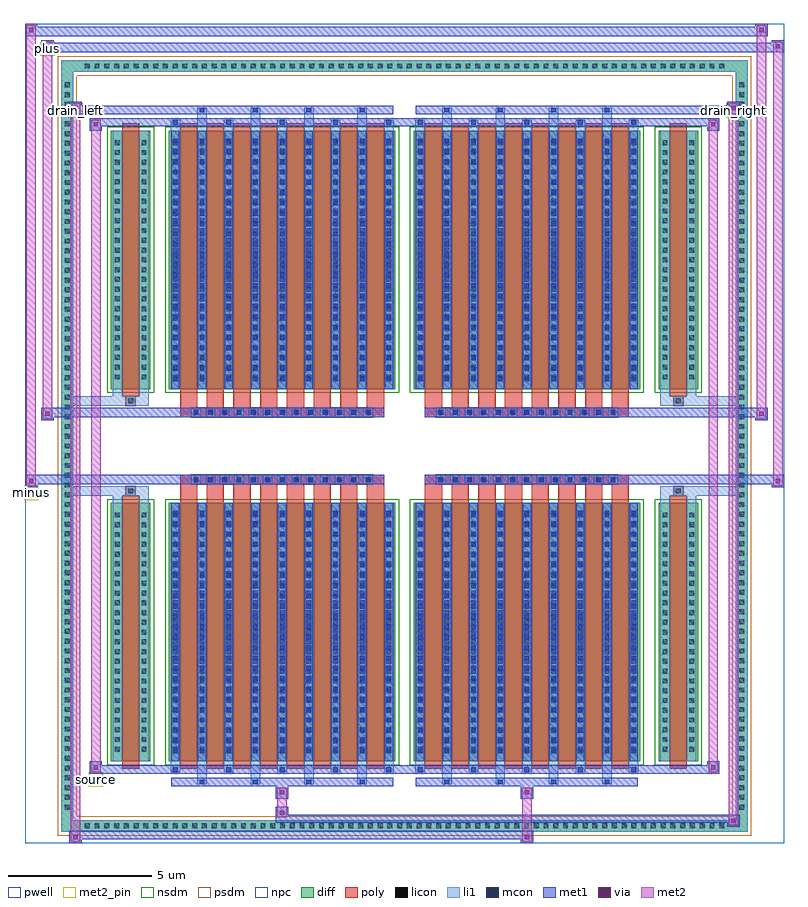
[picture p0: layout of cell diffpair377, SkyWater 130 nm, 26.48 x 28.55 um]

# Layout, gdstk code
import gdstk
lib = gdstk.Library(unit=1e-6, precision=5e-09)
def R(c, l, rs):  # rectangles x0, y0, x1, y1
    for r in rs: c.add(gdstk.rectangle(r[:2], r[2:], *l))
def A(c, l, x, y, w, h, nx, ny, dx, dy):  # array of equal rectangles
    R(c, l, [(x+i*dx, y+j*dy, x+i*dx+w, y+j*dy+h) for i in range(nx) for j in range(ny)])
def P(c, l, *ps):  # polygons
    for p in ps: c.add(gdstk.Polygon(p, *l))
pwell = (64, 44)
diff = (65, 20)
poly = (66, 20)
licon = (66, 44)
li1 = (67, 20)
mcon = (67, 44)
met1 = (68, 20)
via = (68, 44)
met2_pin = (69, 16)
met2 = (69, 20)
nsdm = (93, 44)
psdm = (94, 20)
npc = (95, 20)

diffpair377 = lib.new_cell('diffpair377')
R(diffpair377, pwell, [(-13.22,-13.84,13.22,14.71), (-10.54,-12.03,-0.01,-0.805), (0.01,-12.03,10.54,-0.805), (-10.54,0.805,-0.01,12.03), (0.01,0.805,10.54,12.03)])
A(diffpair377, diff, -11.255, -13.44, 0.41, 0.41, 66, 2, 0.34, 26.47)
A(diffpair377, diff, -11.95, -12.785, 0.41, 0.41, 1, 75, 0, 0.34)
A(diffpair377, diff, 11.54, -12.785, 0.41, 0.41, 1, 75, 0, 0.34)
R(diffpair377, diff, [(-11.255,-13.44,11.255,-13.03), (-11.95,-12.785,-11.54,12.785), (11.54,-12.785,11.95,12.785), (-10.23,-10.985,-8.85,-1.985), (-8.21,-10.985,-0.32,-1.985), (0.32,-10.985,8.21,-1.985), (8.85,-10.985,10.23,-1.985), (-10.23,1.985,-8.85,10.985), (-8.21,1.985,-0.32,10.985), (0.32,1.985,8.21,10.985), (8.85,1.985,10.23,10.985), (-11.255,13.03,11.255,13.44)])
P(diffpair377, diff, [(11.95,13.44),(-11.95,13.44),(-11.95,-13.03),(-11.54,-13.03),(-11.54,13.03),(11.54,13.03),(11.54,-13.03),(-11.54,-13.03),(-11.95,-13.03),(-11.95,-13.44),(11.95,-13.44)])
A(diffpair377, poly, -7.82, -11.235, 0.6, 9.5, 8, 2, 0.93, 12.97)
A(diffpair377, poly, 0.71, -11.235, 0.6, 9.5, 8, 2, 0.93, 12.97)
A(diffpair377, poly, -7.82, -1.735, 0.6, 0.4, 8, 2, 0.93, 3.07)
A(diffpair377, poly, 0.71, -1.735, 0.6, 0.4, 8, 2, 0.93, 3.07)
A(diffpair377, poly, -7.43, -1.335, 0.33, 0.33, 13, 2, 0.5, 2.34)
A(diffpair377, poly, 1.1, -1.335, 0.33, 0.33, 13, 2, 0.5, 2.34)
R(diffpair377, poly, [(-9.84,-11.235,-9.24,-1.735), (9.24,-11.235,9.84,-1.735), (-9.705,-1.735,-9.375,-1.405), (-9.705,-1.735,-9.375,-1.405), (9.375,-1.735,9.705,-1.405), (9.375,-1.735,9.705,-1.405), (-7.82,-1.335,-0.71,-1.005), (0.71,-1.335,7.82,-1.005), (-7.82,1.005,-0.71,1.335), (0.71,1.005,7.82,1.335), (-9.705,1.405,-9.375,1.735), (-9.705,1.405,-9.375,1.735), (9.375,1.405,9.705,1.735), (9.375,1.405,9.705,1.735), (-9.84,1.735,-9.24,11.235), (9.24,1.735,9.84,11.235)])
A(diffpair377, licon, -11.135, -13.32, 0.17, 0.17, 66, 2, 0.34, 26.47)
A(diffpair377, licon, -11.83, -12.665, 0.17, 0.17, 1, 75, 0, 0.34)
A(diffpair377, licon, 11.66, -12.665, 0.17, 0.17, 1, 75, 0, 0.34)
A(diffpair377, licon, -10.09, -10.65, 0.17, 0.17, 1, 25, 0, 0.34)
A(diffpair377, licon, -9.16, -10.65, 0.17, 0.17, 1, 25, 0, 0.34)
A(diffpair377, licon, -8.07, -10.65, 0.17, 0.17, 9, 25, 0.93, 0.34)
A(diffpair377, licon, 0.46, -10.65, 0.17, 0.17, 9, 25, 0.93, 0.34)
A(diffpair377, licon, 8.99, -10.65, 0.17, 0.17, 1, 25, 0, 0.34)
A(diffpair377, licon, 9.92, -10.65, 0.17, 0.17, 1, 25, 0, 0.34)
A(diffpair377, licon, -7.35, -1.255, 0.17, 0.17, 13, 2, 0.5, 2.34)
A(diffpair377, licon, 1.18, -1.255, 0.17, 0.17, 13, 2, 0.5, 2.34)
A(diffpair377, licon, -10.09, 2.32, 0.17, 0.17, 1, 25, 0, 0.34)
A(diffpair377, licon, -9.16, 2.32, 0.17, 0.17, 1, 25, 0, 0.34)
A(diffpair377, licon, -8.07, 2.32, 0.17, 0.17, 9, 25, 0.93, 0.34)
A(diffpair377, licon, 0.46, 2.32, 0.17, 0.17, 9, 25, 0.93, 0.34)
A(diffpair377, licon, 8.99, 2.32, 0.17, 0.17, 1, 25, 0, 0.34)
A(diffpair377, licon, 9.92, 2.32, 0.17, 0.17, 1, 25, 0, 0.34)
R(diffpair377, licon, [(-9.625,-1.655,-9.455,-1.485), (9.455,-1.655,9.625,-1.485), (-9.625,1.485,-9.455,1.655), (9.455,1.485,9.625,1.655)])
A(diffpair377, li1, -11.215, -13.4, 0.33, 0.33, 66, 2, 0.34, 26.47)
A(diffpair377, li1, -11.91, -12.745, 0.33, 0.33, 1, 75, 0, 0.34)
A(diffpair377, li1, 11.58, -12.745, 0.33, 0.33, 1, 75, 0, 0.34)
A(diffpair377, li1, -7.22, -11.79, 0.33, 0.805, 4, 2, 1.86, 22.775)
A(diffpair377, li1, -7.14, -11.79, 0.17, 0.17, 4, 2, 1.86, 23.41)
A(diffpair377, li1, 1.31, -11.79, 0.33, 0.805, 4, 2, 1.86, 22.775)
A(diffpair377, li1, 1.39, -11.79, 0.17, 0.17, 4, 2, 1.86, 23.41)
A(diffpair377, li1, -8.15, -11.36, 0.33, 0.375, 5, 2, 1.86, 22.345)
A(diffpair377, li1, -8.07, -11.36, 0.17, 0.17, 5, 2, 1.86, 22.55)
A(diffpair377, li1, 0.38, -11.36, 0.33, 0.375, 5, 2, 1.86, 22.345)
A(diffpair377, li1, 0.46, -11.36, 0.17, 0.17, 5, 2, 1.86, 22.55)
A(diffpair377, li1, -8.15, -10.985, 0.33, 9, 9, 2, 0.93, 12.97)
A(diffpair377, li1, 0.38, -10.985, 0.33, 9, 9, 2, 0.93, 12.97)
A(diffpair377, li1, -10.17, -10.73, 0.33, 0.33, 1, 25, 0, 0.34)
A(diffpair377, li1, -9.24, -10.73, 0.33, 0.33, 1, 25, 0, 0.34)
A(diffpair377, li1, -8.15, -10.73, 0.33, 0.33, 9, 25, 0.93, 0.34)
A(diffpair377, li1, 0.38, -10.73, 0.33, 0.33, 9, 25, 0.93, 0.34)
A(diffpair377, li1, 8.91, -10.73, 0.33, 0.33, 1, 25, 0, 0.34)
A(diffpair377, li1, 9.84, -10.73, 0.33, 0.33, 1, 25, 0, 0.34)
A(diffpair377, li1, -8.07, -10.71, 0.17, 0.17, 9, 24, 0.93, 0.36)
A(diffpair377, li1, -8.07, -10.71, 0.17, 8.45, 9, 2, 0.93, 12.97)
A(diffpair377, li1, 0.46, -10.71, 0.17, 0.17, 9, 24, 0.93, 0.36)
A(diffpair377, li1, 0.46, -10.71, 0.17, 8.45, 9, 2, 0.93, 12.97)
A(diffpair377, li1, -7.43, -1.335, 0.33, 0.33, 13, 2, 0.5, 2.34)
A(diffpair377, li1, 1.1, -1.335, 0.33, 0.33, 13, 2, 0.5, 2.34)
A(diffpair377, li1, -10.17, 2.24, 0.33, 0.33, 1, 25, 0, 0.34)
A(diffpair377, li1, -9.24, 2.24, 0.33, 0.33, 1, 25, 0, 0.34)
A(diffpair377, li1, -8.15, 2.24, 0.33, 0.33, 9, 25, 0.93, 0.34)
A(diffpair377, li1, 0.38, 2.24, 0.33, 0.33, 9, 25, 0.93, 0.34)
A(diffpair377, li1, 8.91, 2.24, 0.33, 0.33, 1, 25, 0, 0.34)
A(diffpair377, li1, 9.84, 2.24, 0.33, 0.33, 1, 25, 0, 0.34)
A(diffpair377, li1, -8.07, 2.26, 0.17, 0.17, 9, 24, 0.93, 0.36)
A(diffpair377, li1, 0.46, 2.26, 0.17, 0.17, 9, 24, 0.93, 0.36)
R(diffpair377, li1, [(-11.95,-13.44,-11.54,-13.03), (-11.95,-13.44,-11.54,-13.03), (-11.54,-13.44,11.54,-13.03), (11.54,-13.44,11.95,-13.03), (11.54,-13.44,11.95,-13.03), (-11.95,-13.03,-11.54,13.03), (11.54,-13.03,11.95,13.03), (-10.17,-10.985,-9.84,-1.985), (-9.24,-10.985,-8.91,-1.985), (8.91,-10.985,9.24,-1.985), (9.84,-10.985,10.17,-1.985), (-10.17,-1.985,-9.84,-1.405), (-9.24,-1.985,-8.91,-1.405), (8.91,-1.985,9.24,-1.405), (9.84,-1.985,10.17,-1.405), (-11.95,-1.735,-9.705,-1.405), (-10.17,-1.735,-9.705,-1.405), (-9.705,-1.735,-9.375,-1.405), (-9.375,-1.735,-8.91,-1.405), (8.91,-1.735,9.375,-1.405), (9.375,-1.735,9.705,-1.405), (9.375,-1.735,11.95,-1.405), (9.705,-1.735,10.17,-1.405), (-11.95,1.405,-9.705,1.735), (-10.17,1.405,-9.705,1.735), (-10.17,1.405,-9.84,1.985), (-9.705,1.405,-9.375,1.735), (-9.375,1.405,-8.91,1.735), (-9.24,1.405,-8.91,1.985), (8.91,1.405,9.375,1.735), (8.91,1.405,9.24,1.985), (9.375,1.405,9.705,1.735), (9.375,1.405,11.95,1.735), (9.705,1.405,10.17,1.735), (9.84,1.405,10.17,1.985), (-10.17,1.985,-9.84,10.985), (-9.24,1.985,-8.91,10.985), (8.91,1.985,9.24,10.985), (9.84,1.985,10.17,10.985), (-11.95,13.03,-11.54,13.44), (-11.95,13.03,-11.54,13.44), (-11.54,13.03,11.54,13.44), (11.54,13.03,11.95,13.44), (11.54,13.03,11.95,13.44)])
A(diffpair377, mcon, -7.14, -11.79, 0.17, 0.17, 4, 2, 1.86, 23.41)
A(diffpair377, mcon, 1.39, -11.79, 0.17, 0.17, 4, 2, 1.86, 23.41)
A(diffpair377, mcon, -8.07, -11.36, 0.17, 0.17, 5, 2, 1.86, 22.55)
A(diffpair377, mcon, 0.46, -11.36, 0.17, 0.17, 5, 2, 1.86, 22.55)
A(diffpair377, mcon, -8.07, -10.71, 0.17, 0.17, 9, 24, 0.93, 0.36)
A(diffpair377, mcon, 0.46, -10.71, 0.17, 0.17, 9, 24, 0.93, 0.36)
A(diffpair377, mcon, -7.35, -1.255, 0.17, 0.17, 13, 2, 0.5, 2.34)
A(diffpair377, mcon, 1.18, -1.255, 0.17, 0.17, 13, 2, 0.5, 2.34)
A(diffpair377, mcon, -8.07, 2.26, 0.17, 0.17, 9, 24, 0.93, 0.36)
A(diffpair377, mcon, 0.46, 2.26, 0.17, 0.17, 9, 24, 0.93, 0.36)
A(diffpair377, met1, -7.2, -11.85, 0.29, 0.29, 4, 2, 1.86, 23.41)
A(diffpair377, met1, 1.33, -11.85, 0.29, 0.29, 4, 2, 1.86, 23.41)
A(diffpair377, met1, -8.13, -11.42, 0.29, 0.29, 5, 2, 1.86, 22.55)
A(diffpair377, met1, 0.4, -11.42, 0.29, 0.29, 5, 2, 1.86, 22.55)
A(diffpair377, met1, -8.13, -10.985, 0.29, 9, 9, 2, 0.93, 12.97)
A(diffpair377, met1, 0.4, -10.985, 0.29, 9, 9, 2, 0.93, 12.97)
A(diffpair377, met1, -8.13, -10.77, 0.29, 0.29, 9, 24, 0.93, 0.36)
A(diffpair377, met1, 0.4, -10.77, 0.29, 0.29, 9, 24, 0.93, 0.36)
A(diffpair377, met1, -7.41, -1.315, 0.29, 0.29, 13, 2, 0.5, 2.34)
A(diffpair377, met1, 1.12, -1.315, 0.29, 0.29, 13, 2, 0.5, 2.34)
A(diffpair377, met1, -8.13, 2.2, 0.29, 0.29, 9, 24, 0.93, 0.36)
A(diffpair377, met1, 0.4, 2.2, 0.29, 0.29, 9, 24, 0.93, 0.36)
R(diffpair377, met1, [(-11.68,-13.84,-11.25,-13.41), (4.05,-13.84,4.48,-13.41), (-11.68,-13.7,4.48,-13.41), (11.25,-13.27,11.68,-12.84), (-4.48,-13.13,11.68,-12.84), (-4.48,-12.99,-4.05,-12.56), (-4.48,-12.28,-4.05,-11.85), (4.05,-12.28,4.48,-11.85), (-8.13,-11.85,-0.4,-11.56), (0.4,-11.85,8.13,-11.56), (-10.97,-11.42,-10.54,-10.99), (-10.97,-11.42,-8.13,-11.13), (-8.13,-11.42,-0.4,-11.13), (-0.4,-11.42,0.4,-11.13), (0.4,-11.42,8.13,-11.13), (8.13,-11.42,10.97,-11.13), (10.54,-11.42,10.97,-10.99), (-13.22,-1.435,-12.79,-1.005), (12.79,-1.435,13.22,-1.005), (-13.22,-1.335,-0.71,-1.005), (-7.82,-1.335,-0.71,-1.005), (0.71,-1.335,7.82,-1.005), (0.71,-1.335,13.22,-1.005), (-12.65,0.905,-12.22,1.335), (12.22,0.905,12.65,1.335), (-12.65,1.005,-7.82,1.335), (-7.82,1.005,-0.71,1.335), (0.71,1.005,7.82,1.335), (7.82,1.005,12.65,1.335), (-10.97,10.99,-10.54,11.42), (10.54,10.99,10.97,11.42), (-10.97,11.13,-8.13,11.42), (-8.13,11.13,-0.4,11.42), (-0.4,11.13,0.4,11.42), (0.4,11.13,8.13,11.42), (8.13,11.13,10.97,11.42), (-11.68,11.56,-11.25,11.99), (-11.68,11.56,-8.13,11.85), (-8.13,11.56,-0.4,11.85), (0.4,11.56,8.13,11.85), (8.13,11.56,11.68,11.85), (11.25,11.56,11.68,11.99), (-12.65,13.71,-12.22,14.14), (-12.65,13.71,-10.54,14.04), (-10.54,13.71,10.54,14.04), (10.54,13.71,13.22,14.04), (12.79,13.71,13.22,14.14), (-13.22,14.28,-12.79,14.71), (-13.22,14.28,-10.54,14.61), (-10.54,14.28,10.54,14.61), (10.54,14.28,12.65,14.61), (12.22,14.28,12.65,14.71)])
R(diffpair377, via, [(-11.54,-13.7,-11.39,-13.55), (4.19,-13.7,4.34,-13.55), (11.39,-13.13,11.54,-12.98), (-4.34,-12.85,-4.19,-12.7), (-4.34,-12.14,-4.19,-11.99), (4.19,-12.14,4.34,-11.99), (-10.83,-11.28,-10.68,-11.13), (10.68,-11.28,10.83,-11.13), (-13.08,-1.295,-12.93,-1.145), (12.93,-1.295,13.08,-1.145), (-12.51,1.045,-12.36,1.195), (12.36,1.045,12.51,1.195), (-10.83,11.13,-10.68,11.28), (10.68,11.13,10.83,11.28), (-11.54,11.7,-11.39,11.85), (11.39,11.7,11.54,11.85), (-12.51,13.85,-12.36,14), (12.93,13.85,13.08,14), (-13.08,14.42,-12.93,14.57), (12.36,14.42,12.51,14.57)])
R(diffpair377, met2_pin, [(-11.005,-11.87,-10.505,-11.37), (-13.255,-1.885,-12.755,-1.385), (-11.715,11.44,-11.215,11.94), (11.215,11.44,11.715,11.94), (-12.685,13.59,-12.185,14.09)])
R(diffpair377, met2, [(-11.63,-13.79,-11.3,-13.46), (-11.63,-13.79,-11.3,11.94), (4.1,-13.79,4.43,-13.46), (4.1,-13.46,4.43,-12.23), (11.3,-13.22,11.63,-12.89), (11.3,-13.22,11.63,11.94), (-4.43,-12.94,-4.1,-12.61), (-4.43,-12.61,-4.1,-12.23), (-4.43,-12.23,-4.1,-11.9), (4.1,-12.23,4.43,-11.9), (-10.92,-11.37,-10.59,-11.04), (-10.92,-11.37,-10.59,11.37), (10.59,-11.37,10.92,-11.04), (10.59,-11.37,10.92,11.37), (-13.17,-1.385,-12.84,-1.055), (-13.17,-1.385,-12.84,14.66), (12.84,-1.385,13.17,-1.055), (12.84,-1.385,13.17,14.09), (-12.6,0.955,-12.27,1.285), (-12.6,0.955,-12.27,14.09), (12.27,0.955,12.6,1.285), (12.27,0.955,12.6,14.66), (-10.92,11.04,-10.59,11.37), (10.59,11.04,10.92,11.37), (-11.63,11.61,-11.3,11.94), (11.3,11.61,11.63,11.94), (-12.6,13.76,-12.27,14.09), (12.84,13.76,13.17,14.09), (-13.17,14.33,-12.84,14.66), (12.27,14.33,12.6,14.66)])
P(diffpair377, met2, [(13.17,-1.385),(13.17,-1.385),(13.17,-1.055),(13.17,-1.055)],
  [(13.17,13.76),(13.17,13.76),(13.17,14.09),(13.17,14.09)],
  [(-12.84,-1.385),(-12.84,-1.385),(-12.84,-1.055),(-12.84,-1.055)],
  [(-12.84,14.33),(-12.84,14.33),(-12.84,14.66),(-12.84,14.66)],
  [(12.6,0.955),(12.6,0.955),(12.6,1.285),(12.6,1.285)],
  [(12.6,14.33),(12.6,14.33),(12.6,14.66),(12.6,14.66)],
  [(-12.27,0.955),(-12.27,0.955),(-12.27,1.285),(-12.27,1.285)],
  [(-12.27,13.76),(-12.27,13.76),(-12.27,14.09),(-12.27,14.09)],
  [(-11.3,-13.79),(-11.3,-13.79),(-11.3,-13.46),(-11.3,-13.46)],
  [(-11.3,11.61),(-11.3,11.61),(-11.3,11.94),(-11.3,11.94)],
  [(11.63,-13.22),(11.63,-13.22),(11.63,-12.89),(11.63,-12.89)],
  [(11.63,11.61),(11.63,11.61),(11.63,11.94),(11.63,11.94)],
  [(-10.59,-11.37),(-10.59,-11.37),(-10.59,-11.04),(-10.59,-11.04)],
  [(-10.59,11.04),(-10.59,11.04),(-10.59,11.37),(-10.59,11.37)],
  [(10.92,-11.37),(10.92,-11.37),(10.92,-11.04),(10.92,-11.04)],
  [(10.92,11.04),(10.92,11.04),(10.92,11.37),(10.92,11.37)])
R(diffpair377, nsdm, [(-10.36,-11.115,-8.72,-1.855), (-8.34,-11.115,-0.19,-1.855), (0.19,-11.115,8.34,-1.855), (8.72,-11.115,10.36,-1.855), (-10.36,1.855,-8.72,11.115), (-8.34,1.855,-0.19,11.115), (0.19,1.855,8.34,11.115), (8.72,1.855,10.36,11.115)])
P(diffpair377, psdm, [(12.08,13.57),(-12.08,13.57),(-12.08,-12.9),(-11.41,-12.9),(-11.41,12.9),(11.41,12.9),(11.41,-12.9),(-11.41,-12.9),(-12.08,-12.9),(-12.08,-13.57),(12.08,-13.57)])
A(diffpair377, npc, -7.45, -1.355, 0.37, 0.37, 13, 2, 0.5, 2.34)
A(diffpair377, npc, 1.08, -1.355, 0.37, 0.37, 13, 2, 0.5, 2.34)
R(diffpair377, npc, [(-9.725,-1.755,-9.355,-1.385), (9.355,-1.755,9.725,-1.385), (-7.45,-1.355,-6.58,-0.985), (-7.45,-1.355,-6.58,-0.985), (-6.95,-1.355,-6.08,-0.985), (-6.95,-1.355,-6.08,-0.985), (-6.45,-1.355,-5.58,-0.985), (-6.45,-1.355,-5.58,-0.985), (-5.95,-1.355,-5.08,-0.985), (-5.95,-1.355,-5.08,-0.985), (-5.45,-1.355,-4.58,-0.985), (-5.45,-1.355,-4.58,-0.985), (-4.95,-1.355,-4.08,-0.985), (-4.95,-1.355,-4.08,-0.985), (-4.45,-1.355,-3.58,-0.985), (-4.45,-1.355,-3.58,-0.985), (-3.95,-1.355,-3.08,-0.985), (-3.95,-1.355,-3.08,-0.985), (-3.45,-1.355,-2.58,-0.985), (-3.45,-1.355,-2.58,-0.985), (-2.95,-1.355,-2.08,-0.985), (-2.95,-1.355,-2.08,-0.985), (-2.45,-1.355,-1.58,-0.985), (-2.45,-1.355,-1.58,-0.985), (-1.95,-1.355,-1.08,-0.985), (-1.95,-1.355,-1.08,-0.985), (1.08,-1.355,1.95,-0.985), (1.08,-1.355,1.95,-0.985), (1.58,-1.355,2.45,-0.985), (1.58,-1.355,2.45,-0.985), (2.08,-1.355,2.95,-0.985), (2.08,-1.355,2.95,-0.985), (2.58,-1.355,3.45,-0.985), (2.58,-1.355,3.45,-0.985), (3.08,-1.355,3.95,-0.985), (3.08,-1.355,3.95,-0.985), (3.58,-1.355,4.45,-0.985), (3.58,-1.355,4.45,-0.985), (4.08,-1.355,4.95,-0.985), (4.08,-1.355,4.95,-0.985), (4.58,-1.355,5.45,-0.985), (4.58,-1.355,5.45,-0.985), (5.08,-1.355,5.95,-0.985), (5.08,-1.355,5.95,-0.985), (5.58,-1.355,6.45,-0.985), (5.58,-1.355,6.45,-0.985), (6.08,-1.355,6.95,-0.985), (6.08,-1.355,6.95,-0.985), (6.58,-1.355,7.45,-0.985), (6.58,-1.355,7.45,-0.985), (-7.45,0.985,-6.58,1.355), (-7.45,0.985,-6.58,1.355), (-6.95,0.985,-6.08,1.355), (-6.95,0.985,-6.08,1.355), (-6.45,0.985,-5.58,1.355), (-6.45,0.985,-5.58,1.355), (-5.95,0.985,-5.08,1.355), (-5.95,0.985,-5.08,1.355), (-5.45,0.985,-4.58,1.355), (-5.45,0.985,-4.58,1.355), (-4.95,0.985,-4.08,1.355), (-4.95,0.985,-4.08,1.355), (-4.45,0.985,-3.58,1.355), (-4.45,0.985,-3.58,1.355), (-3.95,0.985,-3.08,1.355), (-3.95,0.985,-3.08,1.355), (-3.45,0.985,-2.58,1.355), (-3.45,0.985,-2.58,1.355), (-2.95,0.985,-2.08,1.355), (-2.95,0.985,-2.08,1.355), (-2.45,0.985,-1.58,1.355), (-2.45,0.985,-1.58,1.355), (-1.95,0.985,-1.08,1.355), (-1.95,0.985,-1.08,1.355), (1.08,0.985,1.95,1.355), (1.08,0.985,1.95,1.355), (1.58,0.985,2.45,1.355), (1.58,0.985,2.45,1.355), (2.08,0.985,2.95,1.355), (2.08,0.985,2.95,1.355), (2.58,0.985,3.45,1.355), (2.58,0.985,3.45,1.355), (3.08,0.985,3.95,1.355), (3.08,0.985,3.95,1.355), (3.58,0.985,4.45,1.355), (3.58,0.985,4.45,1.355), (4.08,0.985,4.95,1.355), (4.08,0.985,4.95,1.355), (4.58,0.985,5.45,1.355), (4.58,0.985,5.45,1.355), (5.08,0.985,5.95,1.355), (5.08,0.985,5.95,1.355), (5.58,0.985,6.45,1.355), (5.58,0.985,6.45,1.355), (6.08,0.985,6.95,1.355), (6.08,0.985,6.95,1.355), (6.58,0.985,7.45,1.355), (6.58,0.985,7.45,1.355), (-9.725,1.385,-9.355,1.755), (9.355,1.385,9.725,1.755)])
diffpair377.add(gdstk.Label('minus', (-13.005,-1.635), layer=69, texttype=5))
diffpair377.add(gdstk.Label('drain_right', (11.465,11.69), layer=69, texttype=5))
diffpair377.add(gdstk.Label('drain_left', (-11.465,11.69), layer=69, texttype=5))
diffpair377.add(gdstk.Label('source', (-10.755,-11.62), layer=69, texttype=5))
diffpair377.add(gdstk.Label('plus', (-12.435,13.84), layer=69, texttype=5))

lib.write_gds('diffpair377.gds')
